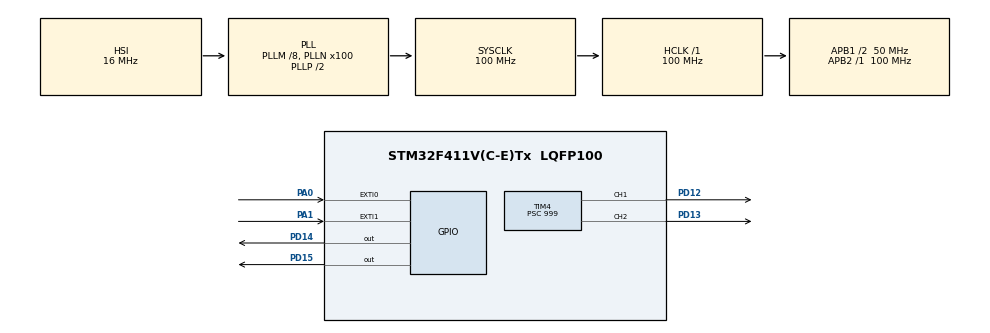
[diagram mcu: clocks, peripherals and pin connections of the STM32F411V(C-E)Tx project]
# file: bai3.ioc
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Mcu.Family=STM32F4
Mcu.Name=STM32F411V(C-E)Tx
Mcu.Package=LQFP100
NVIC.EXTI0_IRQn=true\:0\:0\:false\:false\:true\:true\:true\:true
NVIC.EXTI1_IRQn=true\:0\:0\:false\:false\:true\:true\:true\:true
NVIC.PriorityGroup=NVIC_PRIORITYGROUP_4
PA0-WKUP.Signal=GPXTI0
PA1.GPIO_PuPd=GPIO_NOPULL
PA1.Signal=GPXTI1
PC14-OSC32_IN.Mode=LSE-External-Oscillator
PC14-OSC32_IN.Signal=RCC_OSC32_IN
PC15-OSC32_OUT.Mode=LSE-External-Oscillator
PC15-OSC32_OUT.Signal=RCC_OSC32_OUT
PD12.Signal=S_TIM4_CH1
PD13.Signal=S_TIM4_CH2
PD14.Signal=GPIO_Output
PD15.Signal=GPIO_Output
PH0\ -\ OSC_IN.Mode=HSE-External-Oscillator
PH0\ -\ OSC_IN.Signal=RCC_OSC_IN
PH1\ -\ OSC_OUT.Mode=HSE-External-Oscillator
PH1\ -\ OSC_OUT.Signal=RCC_OSC_OUT
ProjectManager.HeapSize=0x200
ProjectManager.StackSize=0x400
ProjectManager.TargetToolchain=MDK-ARM V5.32
RCC.48MHZClocksFreq_Value=50000000
RCC.AHBFreq_Value=100000000
RCC.APB1CLKDivider=RCC_HCLK_DIV2
RCC.APB1Freq_Value=50000000
RCC.APB1TimFreq_Value=100000000
RCC.APB2Freq_Value=100000000
RCC.APB2TimFreq_Value=100000000
RCC.CortexFreq_Value=100000000
RCC.HCLKFreq_Value=100000000
RCC.HSE_VALUE=25000000
RCC.HSI_VALUE=16000000
RCC.PLLM=8
RCC.PLLN=100
RCC.SYSCLKFreq_VALUE=100000000
RCC.SYSCLKSource=RCC_SYSCLKSOURCE_PLLCLK
RCC.VCOOutputFreq_Value=200000000
SH.S_TIM4_CH1.0=TIM4_CH1,PWM Generation1 CH1
SH.S_TIM4_CH2.0=TIM4_CH2,PWM Generation2 CH2
TIM4.Channel-PWM\ Generation1\ CH1=TIM_CHANNEL_1
TIM4.Channel-PWM\ Generation2\ CH2=TIM_CHANNEL_2
TIM4.Period=99
TIM4.Prescaler=999
VP_TIM4_VS_ClockSourceINT.Mode=Internal
board=custom

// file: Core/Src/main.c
/* USER CODE BEGIN Header */
/**
  ******************************************************************************
  * @file           : main.c
  * @brief          : Main program body
  ******************************************************************************
  * @attention
  *
  * Copyright (c) 2023 STMicroelectronics.
  * All rights reserved.
  *
  * This software is licensed under terms that can be found in the LICENSE file
  * in the root directory of this software component.
  * If no LICENSE file comes with this software, it is provided AS-IS.
  *
  ******************************************************************************
  */
/* USER CODE END Header */
#include "main.h"
#include "tim.h"
#include "gpio.h"

/* USER CODE BEGIN PD */
uint8_t nut1 =0;
uint8_t mode =0;

/* USER CODE END PD */

void SystemClock_Config(void);

/* USER CODE BEGIN 0 */
void HAL_GPIO_EXTI_Callback(uint16_t GPIO_Pin)
	{
	  if(GPIO_Pin==GPIO_PIN_0)
			{
	    nut1 =1;
      }
		if(GPIO_Pin == GPIO_PIN_1 )
			{
			  mode ++;

			}
	}

/* USER CODE END 0 */

int main(void)
{

  /* MCU Configuration--------------------------------------------------------*/

  /* Reset of all peripherals, Initializes the Flash interface and the Systick. */
  HAL_Init();

  /* Configure the system clock */
  SystemClock_Config();

  /* Initialize all configured peripherals */
  MX_GPIO_Init();
  MX_TIM4_Init();
  /* USER CODE BEGIN 2 */
   HAL_TIM_PWM_Start(&htim4,TIM_CHANNEL_1);
	 HAL_TIM_PWM_Start(&htim4,TIM_CHANNEL_2 );
  /* USER CODE END 2 */

  /* Infinite loop */
  while (1)
  {

    /* USER CODE BEGIN 3 */
		if( nut1 ==1)
			{
				 static int b = 0;
     static int i = 25;

	   b =b+ i;

    if (b >= 100)
    {
      b = 100;
      i = -25;
    }
    else if (b <= 0)
    {
      b= 0;
      i = 25;
    }
		 __HAL_TIM_SetCompare(&htim4, TIM_CHANNEL_1, b);
    __HAL_TIM_SetCompare(&htim4, TIM_CHANNEL_2, b);
    b =b+ i;

    if (b >= 100)
    {
      b = 100;
      i = -25;
    }
    else if (b <= 0)
    {
      b= 0;
      i = 25;
    }
    __HAL_TIM_SetCompare(&htim4, TIM_CHANNEL_1, b);
    __HAL_TIM_SetCompare(&htim4, TIM_CHANNEL_2, b);

			}
			nut1 = 0;

			if(mode ==1)
		{

		  __HAL_TIM_SetCompare(&htim4, TIM_CHANNEL_1, 50);
		   __HAL_TIM_SetCompare(&htim4, TIM_CHANNEL_2, 0);

		}
		if(mode ==2)
			{
			  __HAL_TIM_SetCompare(&htim4, TIM_CHANNEL_1, 0);
		   __HAL_TIM_SetCompare(&htim4, TIM_CHANNEL_2, 50);

			}
			if(mode ==3)
			{
			  __HAL_TIM_SetCompare(&htim4, TIM_CHANNEL_1, 50);
		   __HAL_TIM_SetCompare(&htim4, TIM_CHANNEL_2, 50);

			}
				if(mode ==4)
			{
			  __HAL_TIM_SetCompare(&htim4, TIM_CHANNEL_1, 0);
		   __HAL_TIM_SetCompare(&htim4, TIM_CHANNEL_2, 0);
				mode = 0;

			}

		}
  /* USER CODE END 3 */
}

void SystemClock_Config(void)
{
  RCC_OscInitTypeDef RCC_OscInitStruct = {0};
  RCC_ClkInitTypeDef RCC_ClkInitStruct = {0};

  /** Configure the main internal regulator output voltage
  */
  __HAL_RCC_PWR_CLK_ENABLE();
  __HAL_PWR_VOLTAGESCALING_CONFIG(PWR_REGULATOR_VOLTAGE_SCALE1);

  /** Initializes the RCC Oscillators according to the specified parameters
  * in the RCC_OscInitTypeDef structure.
  */
  RCC_OscInitStruct.OscillatorType = RCC_OSCILLATORTYPE_HSI;
  RCC_OscInitStruct.HSIState = RCC_HSI_ON;
  RCC_OscInitStruct.HSICalibrationValue = RCC_HSICALIBRATION_DEFAULT;
  RCC_OscInitStruct.PLL.PLLState = RCC_PLL_ON;
  RCC_OscInitStruct.PLL.PLLSource = RCC_PLLSOURCE_HSI;
  RCC_OscInitStruct.PLL.PLLM = 8;
  RCC_OscInitStruct.PLL.PLLN = 100;
  RCC_OscInitStruct.PLL.PLLP = RCC_PLLP_DIV2;
  RCC_OscInitStruct.PLL.PLLQ = 4;
  if (HAL_RCC_OscConfig(&RCC_OscInitStruct) != HAL_OK)
  {
    Error_Handler();
  }

  /** Initializes the CPU, AHB and APB buses clocks
  */
  RCC_ClkInitStruct.ClockType = RCC_CLOCKTYPE_HCLK|RCC_CLOCKTYPE_SYSCLK
                              |RCC_CLOCKTYPE_PCLK1|RCC_CLOCKTYPE_PCLK2;
  RCC_ClkInitStruct.SYSCLKSource = RCC_SYSCLKSOURCE_PLLCLK;
  RCC_ClkInitStruct.AHBCLKDivider = RCC_SYSCLK_DIV1;
  RCC_ClkInitStruct.APB1CLKDivider = RCC_HCLK_DIV2;
  RCC_ClkInitStruct.APB2CLKDivider = RCC_HCLK_DIV1;

  if (HAL_RCC_ClockConfig(&RCC_ClkInitStruct, FLASH_LATENCY_3) != HAL_OK)
  {
    Error_Handler();
  }
}

void Error_Handler(void)
{
  __disable_irq();
  while (1)
  {
  }
}
